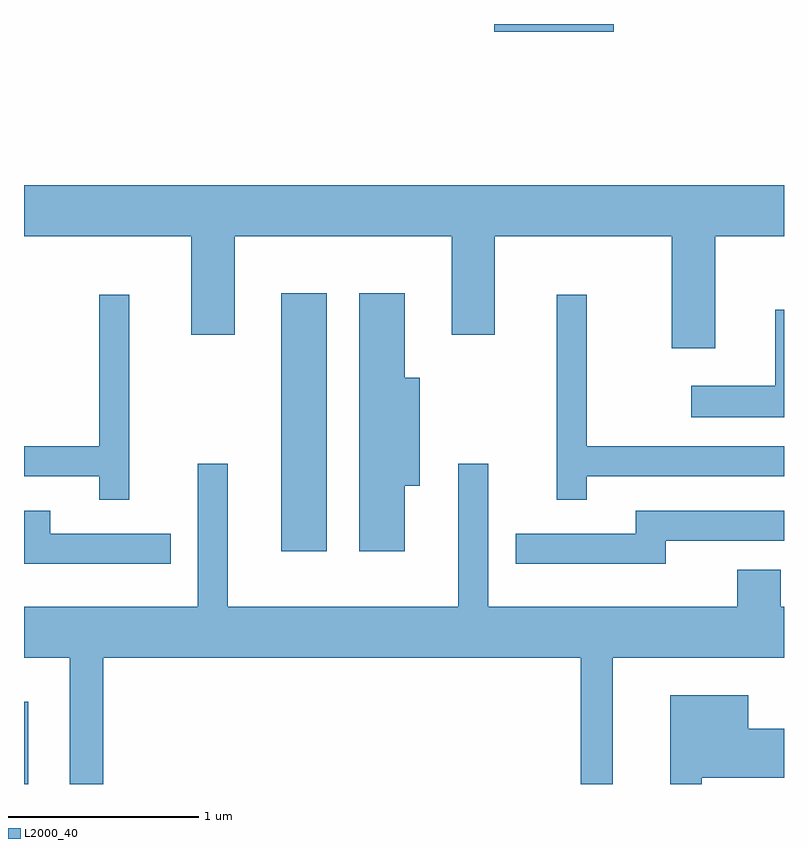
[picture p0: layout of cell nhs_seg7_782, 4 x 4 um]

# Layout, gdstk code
import gdstk
lib = gdstk.Library(unit=1e-6, precision=1e-09)
def R(c, l, rs):  # rectangles x0, y0, x1, y1
    for r in rs: c.add(gdstk.rectangle(r[:2], r[2:], *l))
def P(c, l, *ps):  # polygons
    for p in ps: c.add(gdstk.Polygon(p, *l))
L2000_40 = (2000, 40)

nhs_seg7_782 = lib.new_cell('nhs_seg7_782')
R(nhs_seg7_782, L2000_40, [(207.611,1780.252,207.634,1780.684), (208.966,1781.476,209.204,1782.834), (210.086,1784.211,210.714,1784.252)])
P(nhs_seg7_782, L2000_40, [(211.249,1783.136),(211.611,1783.136),(211.611,1783.404),(207.611,1783.404),(207.611,1783.136),(208.491,1783.136),(208.491,1782.616),(208.719,1782.616),(208.719,1783.136),(209.861,1783.136),(209.861,1782.616),(210.089,1782.616),(210.089,1783.136),(211.021,1783.136),(211.021,1782.546),(211.249,1782.546)],
  [(209.614,1781.821),(209.694,1781.821),(209.694,1782.389),(209.614,1782.389),(209.614,1782.834),(209.376,1782.834),(209.376,1781.476),(209.614,1781.476)],
  [(208.164,1782.828),(208.006,1782.828),(208.006,1782.029),(207.611,1782.029),(207.611,1781.871),(208.006,1781.871),(208.006,1781.748),(208.164,1781.748)],
  [(210.574,1781.871),(211.611,1781.871),(211.611,1782.029),(210.574,1782.029),(210.574,1782.828),(210.416,1782.828),(210.416,1781.748),(210.574,1781.748)],
  [(211.611,1782.749),(211.566,1782.749),(211.566,1782.349),(211.123,1782.349),(211.123,1782.181),(211.611,1782.181)],
  [(208.029,1780.916),(210.541,1780.916),(210.541,1780.252),(210.709,1780.252),(210.709,1780.916),(211.611,1780.916),(211.611,1781.184),(211.594,1781.184),(211.594,1781.379),(211.366,1781.379),(211.366,1781.184),(210.054,1781.184),(210.054,1781.938),(209.896,1781.938),(209.896,1781.184),(208.684,1781.184),(208.684,1781.938),(208.526,1781.938),(208.526,1781.184),(207.611,1781.184),(207.611,1780.916),(207.851,1780.916),(207.851,1780.252),(208.029,1780.252)],
  [(210.989,1781.531),(211.611,1781.531),(211.611,1781.689),(210.831,1781.689),(210.831,1781.569),(210.198,1781.569),(210.198,1781.411),(210.989,1781.411)],
  [(208.383,1781.569),(207.749,1781.569),(207.749,1781.689),(207.611,1781.689),(207.611,1781.411),(208.383,1781.411)],
  [(211.179,1780.286),(211.611,1780.286),(211.611,1780.544),(211.424,1780.544),(211.424,1780.719),(211.011,1780.719),(211.011,1780.252),(211.179,1780.252)])

lib.write_gds('nhs_seg7_782.gds')
